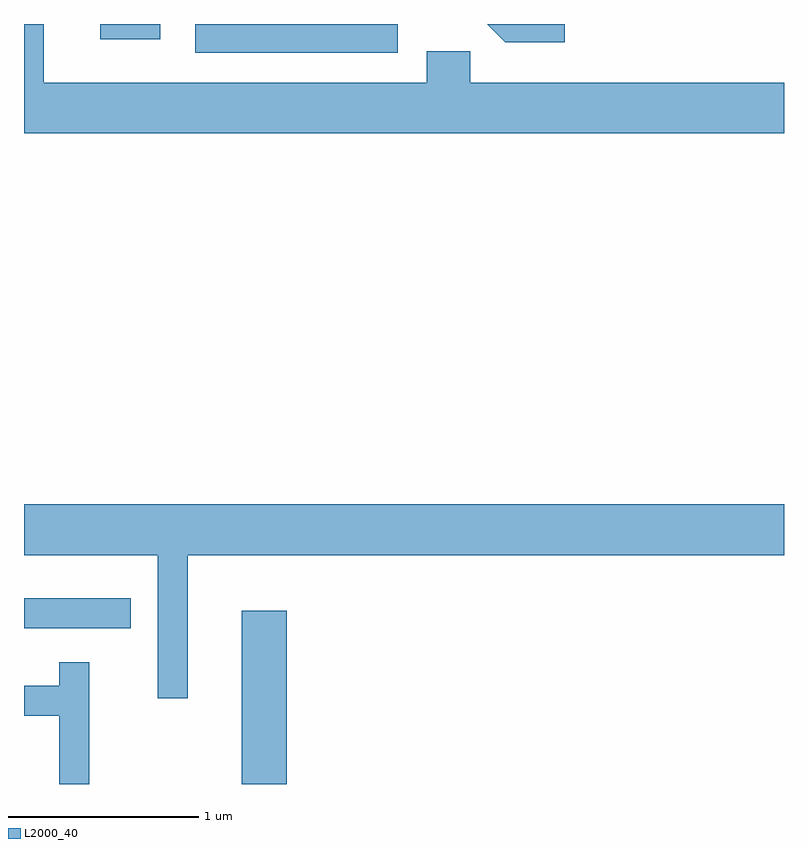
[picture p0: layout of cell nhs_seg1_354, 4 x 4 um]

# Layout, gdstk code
import gdstk
lib = gdstk.Library(unit=1e-6, precision=1e-09)
def R(c, l, rs):  # rectangles x0, y0, x1, y1
    for r in rs: c.add(gdstk.rectangle(r[:2], r[2:], *l))
def P(c, l, *ps):  # polygons
    for p in ps: c.add(gdstk.Polygon(p, *l))
L2000_40 = (2000, 40)

nhs_seg1_354 = lib.new_cell('nhs_seg1_354')
R(nhs_seg1_354, L2000_40, [(196.756,891.712,196.994,892.624), (195.611,892.531,196.173,892.689), (196.511,895.561,197.579,895.712), (196.013,895.631,196.329,895.712)])
P(nhs_seg1_354, L2000_40, [(199.611,895.404),(197.959,895.404),(197.959,895.569),(197.731,895.569),(197.731,895.404),(195.714,895.404),(195.714,895.712),(195.611,895.712),(195.611,895.136),(199.611,895.136)],
  [(198.458,895.712),(198.048,895.712),(198.144,895.616),(198.458,895.616)],
  [(196.474,892.916),(199.611,892.916),(199.611,893.184),(195.611,893.184),(195.611,892.916),(196.316,892.916),(196.316,892.163),(196.474,892.163)],
  [(195.954,892.353),(195.796,892.353),(195.796,892.229),(195.611,892.229),(195.611,892.071),(195.796,892.071),(195.796,891.712),(195.954,891.712)])

lib.write_gds('nhs_seg1_354.gds')
